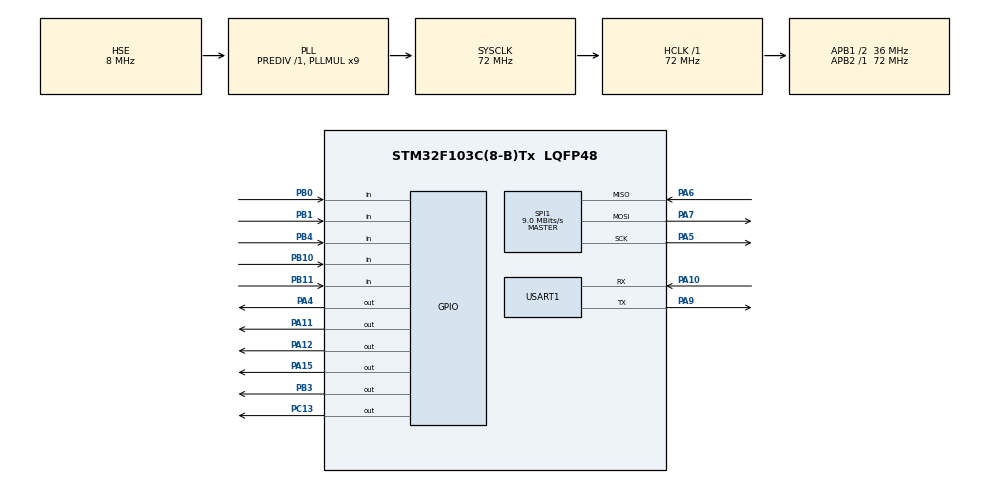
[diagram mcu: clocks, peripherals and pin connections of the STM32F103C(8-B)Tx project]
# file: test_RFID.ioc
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Mcu.Family=STM32F1
Mcu.Name=STM32F103C(8-B)Tx
Mcu.Package=LQFP48
NVIC.PriorityGroup=NVIC_PRIORITYGROUP_4
NVIC.TIM1_UP_IRQn=true\:0\:0\:false\:false\:true\:true\:true
NVIC.TIM2_IRQn=true\:0\:0\:false\:false\:true\:true\:true
NVIC.USART1_IRQn=true\:0\:0\:false\:false\:true\:true\:true
PA10.Mode=Asynchronous
PA10.Signal=USART1_RX
PA11.Signal=GPIO_Output
PA12.Signal=GPIO_Output
PA13.Mode=Serial_Wire
PA13.Signal=SYS_JTMS-SWDIO
PA14.Mode=Serial_Wire
PA14.Signal=SYS_JTCK-SWCLK
PA15.Signal=GPIO_Output
PA4.PinState=GPIO_PIN_SET
PA4.Signal=GPIO_Output
PA5.Mode=Full_Duplex_Master
PA5.Signal=SPI1_SCK
PA6.Mode=Full_Duplex_Master
PA6.Signal=SPI1_MISO
PA7.Mode=Full_Duplex_Master
PA7.Signal=SPI1_MOSI
PA9.Mode=Asynchronous
PA9.Signal=USART1_TX
PB0.GPIO_PuPd=GPIO_PULLUP
PB0.Signal=GPIO_Input
PB1.GPIO_PuPd=GPIO_PULLUP
PB1.Signal=GPIO_Input
PB10.GPIO_PuPd=GPIO_PULLUP
PB10.Signal=GPIO_Input
PB11.GPIO_PuPd=GPIO_PULLUP
PB11.Signal=GPIO_Input
PB3.Signal=GPIO_Output
PB4.Signal=GPIO_Input
PC13-TAMPER-RTC.Signal=GPIO_Output
PD0-OSC_IN.Mode=HSE-External-Oscillator
PD0-OSC_IN.Signal=RCC_OSC_IN
PD1-OSC_OUT.Mode=HSE-External-Oscillator
PD1-OSC_OUT.Signal=RCC_OSC_OUT
ProjectManager.HeapSize=0x200
ProjectManager.StackSize=0x400
ProjectManager.TargetToolchain=MDK-ARM V5
RCC.AHBFreq_Value=72000000
RCC.APB1CLKDivider=RCC_HCLK_DIV2
RCC.APB1Freq_Value=36000000
RCC.APB1TimFreq_Value=72000000
RCC.APB2Freq_Value=72000000
RCC.APB2TimFreq_Value=72000000
RCC.HCLKFreq_Value=72000000
RCC.PLLMUL=RCC_PLL_MUL9
RCC.PLLSourceVirtual=RCC_PLLSOURCE_HSE
RCC.SYSCLKFreq_VALUE=72000000
RCC.SYSCLKSource=RCC_SYSCLKSOURCE_PLLCLK
RCC.USBFreq_Value=72000000
SPI1.BaudRatePrescaler=SPI_BAUDRATEPRESCALER_8
SPI1.CalculateBaudRate=9.0 MBits/s
SPI1.Direction=SPI_DIRECTION_2LINES
SPI1.Mode=SPI_MODE_MASTER
SPI1.VirtualType=VM_MASTER
TIM1.Period=19999
TIM1.Prescaler=7200
TIM2.AutoReloadPreload=TIM_AUTORELOAD_PRELOAD_ENABLE
TIM2.Period=4999
TIM2.Prescaler=7200
USART1.VirtualMode=VM_ASYNC
VP_TIM1_VS_ClockSourceINT.Mode=Internal
VP_TIM2_VS_ClockSourceINT.Mode=Internal
board=custom

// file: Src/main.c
/* USER CODE BEGIN Header */
/**
  ******************************************************************************
  * @file           : main.c
  * @brief          : Main program body
  ******************************************************************************
  * @attention
  *
  * <h2><center>&copy; Copyright (c) 2022 STMicroelectronics.
  * All rights reserved.</center></h2>
  *
  * This software component is licensed by ST under BSD 3-Clause license,
  * the "License"; You may not use this file except in compliance with the
  * License. You may obtain a copy of the License at:
  *                        opensource.org/licenses/BSD-3-Clause
  *
  ******************************************************************************
  */
/* USER CODE END Header */

#include "main.h"

SPI_HandleTypeDef hspi1;

TIM_HandleTypeDef htim1;
TIM_HandleTypeDef htim2;

UART_HandleTypeDef huart1;

void SystemClock_Config(void);
static void MX_GPIO_Init(void);
static void MX_SPI1_Init(void);
static void MX_USART1_UART_Init(void);
static void MX_TIM1_Init(void);
static void MX_TIM2_Init(void);

/* USER CODE BEGIN 0 */
#include "rc522.h"
#include "string.h"
#include "cJSON.h"
#include "DHT.h"
uint8_t rx_data;
char rx_buffer[100];
unsigned int rx_index = 0;
DHT_DataTypedef DHT11_Data;

cJSON *str_json;

uint8_t ND = 0;
uint8_t DA = 0;
uint8_t TB1 = 0;
uint8_t TB2 = 0;
uint8_t TB3 = 0;
uint8_t TB4 = 0;

uint8_t CB1 = 0;/// cam bien
uint8_t CB2 = 0;

//////////
uint8_t TB1last = 0;
uint8_t TB2last = 0;
uint8_t TB3last = 0;
uint8_t TB4last = 0;

uint8_t CB1last = 0;/// cam bien
uint8_t CB2last = 0;

uint8_t start = 0;

unsigned char CardID[5];
unsigned char MyID[5] = {0xCC, 0xEC, 0x04, 0x38, 0x1C};	//My card on my keys
// truyen printf
#ifdef __GNUC__
	#define PUTCHAR_PROTOTYPE int __io_putchar(int ch)
#else
	#define PUTCHAR_PROTOTYPE int fputc(int ch, FILE *f)
#endif

PUTCHAR_PROTOTYPE
{
	HAL_UART_Transmit(&huart1, (uint8_t *)&ch, 1, 0xFFFF);
	return ch;
}

void send_data_uart(uint8_t ND, uint8_t DA, uint8_t tb1, uint8_t tb2, uint8_t tb3, uint8_t tb4, uint8_t cb1, uint8_t cb2)
{
	char JSON[100] = "";
	char Str_ND[10] = "";
	char Str_DA[10] = "";
	char Str_TB1[10] = "";
	char Str_TB2[10] = "";
	char Str_TB3[10] = "";
	char Str_TB4[10] = "";
	char Str_CB1[10] = "";
	char Str_CB2[10] = "";

	sprintf(Str_ND, "%d", ND);
	sprintf(Str_DA, "%d", DA);
	sprintf(Str_TB1, "%d", tb1);
	sprintf(Str_TB2, "%d", tb2);
	sprintf(Str_TB3, "%d", tb3);
	sprintf(Str_TB4, "%d", tb4);

	sprintf(Str_CB1, "%d", cb1);
	sprintf(Str_CB2, "%d", cb2);

	// {\"TB1\":"1"}
	strcat(JSON, "{\"ND\":\"");
	strcat(JSON, Str_ND); strcat(JSON, "\",");
	strcat(JSON, "\"DA\":\"");
	strcat(JSON, Str_DA); strcat(JSON, "\",");

	strcat(JSON, "\"TB1\":\"");
	strcat(JSON, Str_TB1); strcat(JSON, "\",");
	strcat(JSON, "\"TB2\":\"");
	strcat(JSON, Str_TB2); strcat(JSON, "\",");

	strcat(JSON, "\"TB3\":\"");
	strcat(JSON, Str_TB3); strcat(JSON, "\",");

	strcat(JSON, "\"TB4\":\"");
	strcat(JSON, Str_TB4); strcat(JSON, "\",");

	strcat(JSON, "\"CB1\":\"");
	strcat(JSON, Str_CB1); strcat(JSON, "\",");
	strcat(JSON, "\"CB2\":\"");
	strcat(JSON, Str_CB2); strcat(JSON, "\"}\n");

	printf("%s", JSON);
}
void XulyJson(char *DataJson) // xu ly data nhan tu PC
{
	str_json = cJSON_Parse(DataJson);
	if(!str_json)
	{

	}
	else
	{
		if(cJSON_GetObjectItem(str_json, "TB1"))
		{
			if(strstr( cJSON_GetObjectItem(str_json, "TB1")->valuestring,"0") != NULL )
			{
				HAL_GPIO_WritePin(GPIOA, GPIO_PIN_11, GPIO_PIN_SET);
				TB1 = 0;
			}
			else if(strstr( cJSON_GetObjectItem(str_json, "TB1")->valuestring,"1") != NULL )
			{
				HAL_GPIO_WritePin(GPIOA, GPIO_PIN_11, GPIO_PIN_RESET);
				TB1 = 1;
			}
		}
		if(cJSON_GetObjectItem(str_json, "TB2")){
			//hàm tr? v? m?t con tr? null n?u "TB2"  không có trong TB2 -> valuestring.
			if(strstr( cJSON_GetObjectItem(str_json, "TB2")->valuestring,"0") != NULL )
			{
				HAL_GPIO_WritePin(GPIOA, GPIO_PIN_12, GPIO_PIN_SET);
				TB2 = 0;
			}
			else if(strstr( cJSON_GetObjectItem(str_json, "TB2")->valuestring,"1") != NULL )
			{
				HAL_GPIO_WritePin(GPIOA, GPIO_PIN_12, GPIO_PIN_RESET);
				TB2 = 1;
			}
		}
		if(cJSON_GetObjectItem(str_json, "TB3")){
			//hàm tr? v? m?t con tr? null n?u "TB2"  không có trong TB2 -> valuestring.
			if(strstr( cJSON_GetObjectItem(str_json, "TB3")->valuestring,"0") != NULL )
			{
				HAL_GPIO_WritePin(GPIOA, GPIO_PIN_15, GPIO_PIN_SET);
				TB3 = 0;
			}
			else if(strstr( cJSON_GetObjectItem(str_json, "TB3")->valuestring,"1") != NULL )
			{
				HAL_GPIO_WritePin(GPIOA, GPIO_PIN_15, GPIO_PIN_RESET);
				TB3 = 1;
			}
		}
		if(cJSON_GetObjectItem(str_json, "TB4")){
			//hàm tr? v? m?t con tr? null n?u "TB2"  không có trong TB2 -> valuestring.
			if(strstr( cJSON_GetObjectItem(str_json, "TB4")->valuestring,"0") != NULL )
			{
				HAL_GPIO_WritePin(GPIOB, GPIO_PIN_3, GPIO_PIN_SET);
				TB4 = 0;
			}
			else if(strstr( cJSON_GetObjectItem(str_json, "TB4")->valuestring,"1") != NULL )
			{
				HAL_GPIO_WritePin(GPIOB, GPIO_PIN_3, GPIO_PIN_RESET);
				TB4 = 1;
			}
		}

	}
	cJSON_Delete(str_json); // xóa m?ng json
}
void Received(void)
{
	if (rx_data != '\n')
	{
			rx_buffer[rx_index++] = rx_data;
	}
	else
	{
		XulyJson(rx_buffer);
		rx_index = 0;
			// xoa bo dem buffer
		//printf("Data nhan: %s\n", rx_buffer);
		for (int i = 0; i < 100; i++)
		{
			rx_buffer[i] = 0;
		}
	}
}
void HAL_UART_RxCpltCallback(UART_HandleTypeDef *huart) // call back uart interrupt
{
	if (huart -> Instance == USART1 || start == 1){
		Received();// nhan + xu ly data
		HAL_UART_Receive_IT(&huart1, &rx_data, 1);  // nhan data uart interrupt/ 1: data size
		// uart, data, size
	}
}
void Read_dht11()
{
	DHT_GetData(&DHT11_Data);
	ND = DHT11_Data.Temperature;
	DA = DHT11_Data.Humidity;
}

/* USER CODE END 0 */

int main(void)
{

  /* MCU Configuration--------------------------------------------------------*/

  /* Reset of all peripherals, Initializes the Flash interface and the Systick. */
  HAL_Init();

  /* Configure the system clock */
  SystemClock_Config();

  /* Initialize all configured peripherals */
  MX_GPIO_Init();
  MX_SPI1_Init();
  MX_USART1_UART_Init();
  MX_TIM1_Init();
  MX_TIM2_Init();
  /* USER CODE BEGIN 2 */
	HAL_SPI_Init(&hspi1);
	HAL_UART_Init(&huart1);
	MFRC522_Init();
	HAL_TIM_Base_Start_IT(&htim1); /// bat ngat init timer 1
	HAL_TIM_Base_Start_IT(&htim2); /// bat ngat init timer 2
	HAL_UART_Receive_IT(&huart1, &rx_data, 1); // nhan data uart

	HAL_GPIO_WritePin(GPIOC, GPIO_PIN_13, GPIO_PIN_RESET);

	HAL_GPIO_WritePin(GPIOA, GPIO_PIN_11, GPIO_PIN_SET);
	HAL_GPIO_WritePin(GPIOA, GPIO_PIN_12, GPIO_PIN_SET);
	HAL_GPIO_WritePin(GPIOA, GPIO_PIN_15, GPIO_PIN_SET);
	HAL_GPIO_WritePin(GPIOB, GPIO_PIN_3, GPIO_PIN_SET);

  /* USER CODE END 2 */

  /* Infinite loop */
  while (1)
  {

    /* USER CODE BEGIN 3 */

			if (MFRC522_Check(CardID) == MI_OK)
			{

				char CardID1[100] = "";
				sprintf(CardID1, "%02X%02X%02X%02X%02X", CardID[0], CardID[1], CardID[2], CardID[3], CardID[4]);
				//printf("%s\n", CardID1);
				if (MFRC522_Compare(CardID, MyID) == MI_OK)
				{
						//HAL_GPIO_WritePin(GPIOC, GPIO_PIN_13, GPIO_PIN_RESET);
						start ++;
						if (start == 2)
						{
								start = 0;
						}
				}
				else
				{
						//HAL_GPIO_WritePin(GPIOC, GPIO_PIN_13, GPIO_PIN_SET);
						start = 0;
				}
			}

			//HAL_Delay(1000);

		if(HAL_GPIO_ReadPin(GPIOB, GPIO_PIN_11) == 0)
			CB1 = 0;
		else
			CB1 = 1;

		if(HAL_GPIO_ReadPin(GPIOB, GPIO_PIN_10) == 0)
			CB2 = 0;
		else
			CB2 = 1;

	}
  /* USER CODE END 3 */
}

void SystemClock_Config(void)
{
  RCC_OscInitTypeDef RCC_OscInitStruct = {0};
  RCC_ClkInitTypeDef RCC_ClkInitStruct = {0};

  /** Initializes the CPU, AHB and APB busses clocks
  */
  RCC_OscInitStruct.OscillatorType = RCC_OSCILLATORTYPE_HSE;
  RCC_OscInitStruct.HSEState = RCC_HSE_ON;
  RCC_OscInitStruct.HSEPredivValue = RCC_HSE_PREDIV_DIV1;
  RCC_OscInitStruct.HSIState = RCC_HSI_ON;
  RCC_OscInitStruct.PLL.PLLState = RCC_PLL_ON;
  RCC_OscInitStruct.PLL.PLLSource = RCC_PLLSOURCE_HSE;
  RCC_OscInitStruct.PLL.PLLMUL = RCC_PLL_MUL9;
  if (HAL_RCC_OscConfig(&RCC_OscInitStruct) != HAL_OK)
  {
    Error_Handler();
  }
  /** Initializes the CPU, AHB and APB busses clocks
  */
  RCC_ClkInitStruct.ClockType = RCC_CLOCKTYPE_HCLK|RCC_CLOCKTYPE_SYSCLK
                              |RCC_CLOCKTYPE_PCLK1|RCC_CLOCKTYPE_PCLK2;
  RCC_ClkInitStruct.SYSCLKSource = RCC_SYSCLKSOURCE_PLLCLK;
  RCC_ClkInitStruct.AHBCLKDivider = RCC_SYSCLK_DIV1;
  RCC_ClkInitStruct.APB1CLKDivider = RCC_HCLK_DIV2;
  RCC_ClkInitStruct.APB2CLKDivider = RCC_HCLK_DIV1;

  if (HAL_RCC_ClockConfig(&RCC_ClkInitStruct, FLASH_LATENCY_2) != HAL_OK)
  {
    Error_Handler();
  }
}

static void MX_SPI1_Init(void)
{

  /* SPI1 parameter configuration*/
  hspi1.Instance = SPI1;
  hspi1.Init.Mode = SPI_MODE_MASTER;
  hspi1.Init.Direction = SPI_DIRECTION_2LINES;
  hspi1.Init.DataSize = SPI_DATASIZE_8BIT;
  hspi1.Init.CLKPolarity = SPI_POLARITY_LOW;
  hspi1.Init.CLKPhase = SPI_PHASE_1EDGE;
  hspi1.Init.NSS = SPI_NSS_SOFT;
  hspi1.Init.BaudRatePrescaler = SPI_BAUDRATEPRESCALER_8;
  hspi1.Init.FirstBit = SPI_FIRSTBIT_MSB;
  hspi1.Init.TIMode = SPI_TIMODE_DISABLE;
  hspi1.Init.CRCCalculation = SPI_CRCCALCULATION_DISABLE;
  hspi1.Init.CRCPolynomial = 10;
  if (HAL_SPI_Init(&hspi1) != HAL_OK)
  {
    Error_Handler();
  }

}

static void MX_TIM1_Init(void)
{

  TIM_ClockConfigTypeDef sClockSourceConfig = {0};
  TIM_MasterConfigTypeDef sMasterConfig = {0};

  htim1.Instance = TIM1;
  htim1.Init.Prescaler = 7200;
  htim1.Init.CounterMode = TIM_COUNTERMODE_UP;
  htim1.Init.Period = 11999;
  htim1.Init.ClockDivision = TIM_CLOCKDIVISION_DIV1;
  htim1.Init.RepetitionCounter = 0;
  htim1.Init.AutoReloadPreload = TIM_AUTORELOAD_PRELOAD_DISABLE;
  if (HAL_TIM_Base_Init(&htim1) != HAL_OK)
  {
    Error_Handler();
  }
  sClockSourceConfig.ClockSource = TIM_CLOCKSOURCE_INTERNAL;
  if (HAL_TIM_ConfigClockSource(&htim1, &sClockSourceConfig) != HAL_OK)
  {
    Error_Handler();
  }
  sMasterConfig.MasterOutputTrigger = TIM_TRGO_RESET;
  sMasterConfig.MasterSlaveMode = TIM_MASTERSLAVEMODE_DISABLE;
  if (HAL_TIMEx_MasterConfigSynchronization(&htim1, &sMasterConfig) != HAL_OK)
  {
    Error_Handler();
  }

}

static void MX_TIM2_Init(void)
{

  TIM_ClockConfigTypeDef sClockSourceConfig = {0};
  TIM_MasterConfigTypeDef sMasterConfig = {0};

  htim2.Instance = TIM2;
  htim2.Init.Prescaler = 7200;
  htim2.Init.CounterMode = TIM_COUNTERMODE_UP;
  htim2.Init.Period = 4999;
  htim2.Init.ClockDivision = TIM_CLOCKDIVISION_DIV1;
  htim2.Init.AutoReloadPreload = TIM_AUTORELOAD_PRELOAD_ENABLE;
  if (HAL_TIM_Base_Init(&htim2) != HAL_OK)
  {
    Error_Handler();
  }
  sClockSourceConfig.ClockSource = TIM_CLOCKSOURCE_INTERNAL;
  if (HAL_TIM_ConfigClockSource(&htim2, &sClockSourceConfig) != HAL_OK)
  {
    Error_Handler();
  }
  sMasterConfig.MasterOutputTrigger = TIM_TRGO_RESET;
  sMasterConfig.MasterSlaveMode = TIM_MASTERSLAVEMODE_DISABLE;
  if (HAL_TIMEx_MasterConfigSynchronization(&htim2, &sMasterConfig) != HAL_OK)
  {
    Error_Handler();
  }

}

static void MX_USART1_UART_Init(void)
{

  huart1.Instance = USART1;
  huart1.Init.BaudRate = 115200;
  huart1.Init.WordLength = UART_WORDLENGTH_8B;
  huart1.Init.StopBits = UART_STOPBITS_1;
  huart1.Init.Parity = UART_PARITY_NONE;
  huart1.Init.Mode = UART_MODE_TX_RX;
  huart1.Init.HwFlowCtl = UART_HWCONTROL_NONE;
  huart1.Init.OverSampling = UART_OVERSAMPLING_16;
  if (HAL_UART_Init(&huart1) != HAL_OK)
  {
    Error_Handler();
  }

}

static void MX_GPIO_Init(void)
{
  GPIO_InitTypeDef GPIO_InitStruct = {0};

  /* GPIO Ports Clock Enable */
  __HAL_RCC_GPIOC_CLK_ENABLE();
  __HAL_RCC_GPIOD_CLK_ENABLE();
  __HAL_RCC_GPIOA_CLK_ENABLE();
  __HAL_RCC_GPIOB_CLK_ENABLE();

  /*Configure GPIO pin Output Level */
  HAL_GPIO_WritePin(GPIOC, GPIO_PIN_13, GPIO_PIN_RESET);

  /*Configure GPIO pin Output Level */
  HAL_GPIO_WritePin(GPIOA, GPIO_PIN_4, GPIO_PIN_SET);

  /*Configure GPIO pin Output Level */
  HAL_GPIO_WritePin(GPIOA, GPIO_PIN_11|GPIO_PIN_12|GPIO_PIN_15, GPIO_PIN_RESET);

  /*Configure GPIO pin Output Level */
  HAL_GPIO_WritePin(GPIOB, GPIO_PIN_3, GPIO_PIN_RESET);

  /*Configure GPIO pin : PC13 */
  GPIO_InitStruct.Pin = GPIO_PIN_13;
  GPIO_InitStruct.Mode = GPIO_MODE_OUTPUT_PP;
  GPIO_InitStruct.Pull = GPIO_NOPULL;
  GPIO_InitStruct.Speed = GPIO_SPEED_FREQ_LOW;
  HAL_GPIO_Init(GPIOC, &GPIO_InitStruct);

  /*Configure GPIO pins : PA4 PA11 PA12 PA15 */
  GPIO_InitStruct.Pin = GPIO_PIN_4|GPIO_PIN_11|GPIO_PIN_12|GPIO_PIN_15;
  GPIO_InitStruct.Mode = GPIO_MODE_OUTPUT_PP;
  GPIO_InitStruct.Pull = GPIO_NOPULL;
  GPIO_InitStruct.Speed = GPIO_SPEED_FREQ_LOW;
  HAL_GPIO_Init(GPIOA, &GPIO_InitStruct);

  /*Configure GPIO pins : PB0 PB1 PB10 PB11 */
  GPIO_InitStruct.Pin = GPIO_PIN_0|GPIO_PIN_1|GPIO_PIN_10|GPIO_PIN_11;
  GPIO_InitStruct.Mode = GPIO_MODE_INPUT;
  GPIO_InitStruct.Pull = GPIO_PULLUP;
  HAL_GPIO_Init(GPIOB, &GPIO_InitStruct);

  /*Configure GPIO pin : PB3 */
  GPIO_InitStruct.Pin = GPIO_PIN_3;
  GPIO_InitStruct.Mode = GPIO_MODE_OUTPUT_PP;
  GPIO_InitStruct.Pull = GPIO_NOPULL;
  GPIO_InitStruct.Speed = GPIO_SPEED_FREQ_LOW;
  HAL_GPIO_Init(GPIOB, &GPIO_InitStruct);

  /*Configure GPIO pin : PB4 */
  GPIO_InitStruct.Pin = GPIO_PIN_4;
  GPIO_InitStruct.Mode = GPIO_MODE_INPUT;
  GPIO_InitStruct.Pull = GPIO_NOPULL;
  HAL_GPIO_Init(GPIOB, &GPIO_InitStruct);

}

/* USER CODE BEGIN 4 */
void HAL_TIM_PeriodElapsedCallback(TIM_HandleTypeDef *htim){
	if (htim-> Instance == htim1.Instance && start == 1){

			//HAL_GPIO_TogglePin(GPIOC, GPIO_PIN_13);
			Read_dht11();
			send_data_uart(ND, DA, TB1, TB2, TB3, TB4, CB1, CB2 );
		//////////// send data to ESP32
	}
	if (htim-> Instance == htim2.Instance && start == 1){
			HAL_GPIO_TogglePin(GPIOC, GPIO_PIN_13);
	}
}
/* USER CODE END 4 */

void Error_Handler(void)
{
}

/************************ (C) COPYRIGHT STMicroelectronics *****END OF FILE****/
